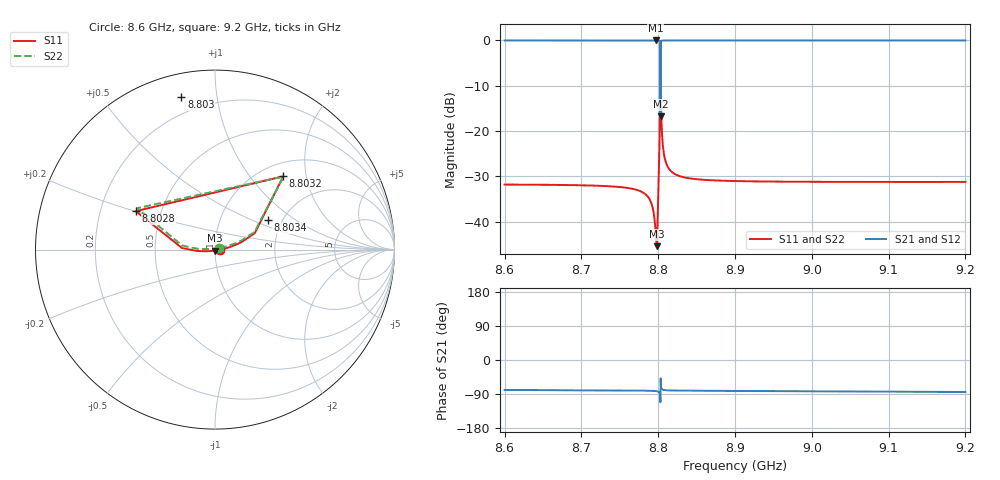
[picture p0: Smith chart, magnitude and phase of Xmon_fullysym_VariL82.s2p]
! Sonnet Data File
! From: emgraph Version : 16.52
! From Project: 171117_Xmon_fullysym
! Data is De-embedded
! Data File Written: 11/26/2017 21:44:45
!< HDATE 11/26/2017 17:24:49
!< MDATE 11/26/2017 17:24:49
!< PARAMS
!< Lj = 11.0
!< Gap = 1.0
!< Pwid = 2000.0
!< Airgap = 6.0
!< Width = 10.0
!< Lj1 = 8.2
!< END PARAMS
# GHZ S MA R 50.90000
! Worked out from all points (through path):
!   3001 points, 8.6 GHz to 9.2 GHz, reference 50.9 ohm
!   highest |S21| = 0.00 dB at 8.7966 GHz (marker M1); lowest = -16.8 dB at 8.803 GHz (marker M2)
!   lowest |S11| = -45.4 dB at 8.798 GHz (marker M3), VSWR 1.01, Z = 51 - j0.543 ohm
!   |S11| at or under -10 dB: start of sweep to 8.8026 GHz; 8.8034 GHz to end of sweep
!   |S22| runs from -45.1 to -1.2 dB; largest |S21 - S12| = 3.7e-11
!   S11 on the Smith chart (normalised r, x): 8.6 GHz: 1.05, -0.00; 8.8028 GHz: 0.36, +0.20; 8.803 GHz: 0.11, +0.80; 8.8032 GHz: 1.25, +1.48; 8.8034 GHz: 1.68, +0.63; 9.2 GHz: 1.06, -0.01
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8.6  0.02565 -0.3  0.9997 -79.0  0.9997 -79.0  0.02565 22.3
!< P1 F=8.6 Eeff=(6.44845572 -2.9799e-5) Z0=(50.9087207 1.17006e-4) R=0.0 C=0.0
!< P2 F=8.6 Eeff=(6.44845572 -2.9799e-5) Z0=(50.9087207 1.17006e-4) R=0.0 C=0.0
8.7  0.02519 -1.7  0.9997 -80.0  0.9997 -80.0  0.02519 21.8
8.7794  0.02114 -5.3  0.9998 -80.9  0.9998 -80.9  0.02115 23.4
8.7904  0.01652 -10.0  0.9998 -81.3  0.9998 -81.3  0.01653 27.5
8.7966  0.007729 -35.7  0.9999 -82.0  0.9999 -82.0  0.007817 52.4
8.798  0.00536 -83.7  0.9999 -82.3  0.9999 -82.3  0.005561 99.1
8.7992  0.009954 -140.2  0.9998 -82.8  0.9998 -82.8  0.01014 153.0
8.8002  0.02131 -159.0  0.9995 -83.5  0.9995 -83.5  0.02147 170.4
8.8016  0.06694 -172.0  0.9965 -86.1  0.9965 -86.1  0.06714 177.6
8.8028  0.4908 154.1  0.8266 -111.6  0.8266 -111.6  0.4916 152.0
8.803  0.871 102.4  0.1451 -108.2  0.1451 -108.2  0.8724 101.3
8.8032  0.5578 47.0  0.778 -48.6  0.778 -48.6  0.5586 46.8
8.8034  0.3364 29.6  0.9266 -62.7  0.9266 -62.7  0.3369 30.2
8.8052  0.08582 9.8  0.9958 -77.4  0.9958 -77.4  0.08588 16.0
8.8062  0.06726 7.6  0.9975 -78.5  0.9975 -78.5  0.0673 15.8
8.8072  0.05754 6.1  0.9982 -79.1  0.9982 -79.1  0.05756 16.0
8.8098  0.04566 3.9  0.9989 -79.8  0.9989 -79.8  0.04567 16.6
8.8196  0.03439 0.9  0.9994 -80.5  0.9994 -80.5  0.03439 18.1
8.9002  0.02805 -2.5  0.9996 -81.7  0.9996 -81.7  0.02805 19.3
9.0002  0.02752 -3.9  0.9996 -82.6  0.9996 -82.6  0.02752 18.7
9.1  0.02743 -5.1  0.9996 -83.5  0.9996 -83.5  0.02743 18.1
9.2  0.02744 -6.3  0.9996 -84.5  0.9996 -84.5  0.02744 17.3
